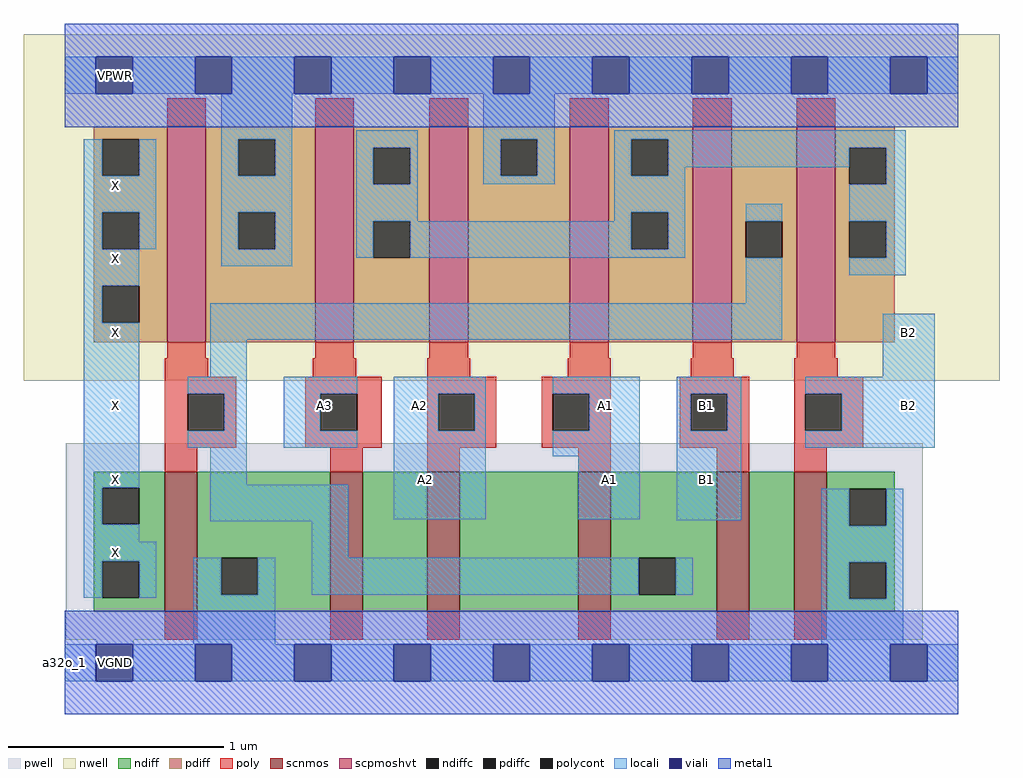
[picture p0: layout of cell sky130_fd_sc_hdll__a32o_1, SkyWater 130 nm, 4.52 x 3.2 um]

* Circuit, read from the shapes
.subckt sky130_fd_sc_hdll__a32o_1 A1 A2 A3 B1 B2 VGND VNB VPB VPWR X
XM1 VGND n1 X VNB sky130_fd_pr__nfet_01v8 w=0.65 l=0.15
XM2 n2 A3 VGND VNB sky130_fd_pr__nfet_01v8 w=0.65 l=0.15
XM3 n3 A2 n2 VNB sky130_fd_pr__nfet_01v8 w=0.65 l=0.15
XM4 n1 A1 n3 VNB sky130_fd_pr__nfet_01v8 w=0.65 l=0.15
XM5 n4 B1 n1 VNB sky130_fd_pr__nfet_01v8 w=0.65 l=0.15
XM6 VGND B2 n4 VNB sky130_fd_pr__nfet_01v8 w=0.65 l=0.15
XM7 VPWR n1 X VPB sky130_fd_pr__pfet_01v8_hvt w=1 l=0.18
XM8 n5 A3 VPWR VPB sky130_fd_pr__pfet_01v8_hvt w=1 l=0.18
XM9 VPWR A2 n5 VPB sky130_fd_pr__pfet_01v8_hvt w=1 l=0.18
XM10 n5 A1 VPWR VPB sky130_fd_pr__pfet_01v8_hvt w=1 l=0.18
XM11 n1 B1 n5 VPB sky130_fd_pr__pfet_01v8_hvt w=1 l=0.18
XM12 n5 B2 n1 VPB sky130_fd_pr__pfet_01v8_hvt w=1 l=0.18
.ends

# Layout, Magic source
magic
tech sky130A
magscale 1 2
<< nwell >>
rect -38 261 866 582
<< pwell >>
rect 1 21 795 203
rect 30 -17 64 21
<< scnmos >>
rect 93 47 123 177
rect 246 47 276 177
rect 336 47 366 177
rect 476 47 506 177
rect 604 47 634 177
rect 676 47 706 177
<< scpmoshvt >>
rect 95 297 131 497
rect 232 297 268 497
rect 338 297 374 497
rect 468 297 504 497
rect 582 297 618 497
rect 678 297 714 497
<< ndiff >>
rect 27 162 93 177
rect 27 128 35 162
rect 69 128 93 162
rect 27 94 93 128
rect 27 60 35 94
rect 69 60 93 94
rect 27 47 93 60
rect 123 97 246 177
rect 123 63 145 97
rect 179 63 246 97
rect 123 47 246 63
rect 276 47 336 177
rect 366 47 476 177
rect 506 97 604 177
rect 506 63 532 97
rect 566 63 604 97
rect 506 47 604 63
rect 634 47 676 177
rect 706 161 769 177
rect 706 127 727 161
rect 761 127 769 161
rect 706 93 769 127
rect 706 59 727 93
rect 761 59 769 93
rect 706 47 769 59
<< pdiff >>
rect 27 485 95 497
rect 27 451 35 485
rect 69 451 95 485
rect 27 417 95 451
rect 27 383 35 417
rect 69 383 95 417
rect 27 349 95 383
rect 27 315 35 349
rect 69 315 95 349
rect 27 297 95 315
rect 131 485 232 497
rect 131 451 161 485
rect 195 451 232 485
rect 131 417 232 451
rect 131 383 161 417
rect 195 383 232 417
rect 131 297 232 383
rect 268 477 338 497
rect 268 443 286 477
rect 320 443 338 477
rect 268 409 338 443
rect 268 375 286 409
rect 320 375 338 409
rect 268 297 338 375
rect 374 485 468 497
rect 374 451 404 485
rect 438 451 468 485
rect 374 297 468 451
rect 504 485 582 497
rect 504 451 525 485
rect 559 451 582 485
rect 504 417 582 451
rect 504 383 525 417
rect 559 383 582 417
rect 504 297 582 383
rect 618 409 678 497
rect 618 375 631 409
rect 665 375 678 409
rect 618 297 678 375
rect 714 477 769 497
rect 714 443 727 477
rect 761 443 769 477
rect 714 409 769 443
rect 714 375 727 409
rect 761 375 769 409
rect 714 297 769 375
<< ndiffc >>
rect 35 128 69 162
rect 35 60 69 94
rect 145 63 179 97
rect 532 63 566 97
rect 727 127 761 161
rect 727 59 761 93
<< pdiffc >>
rect 35 451 69 485
rect 35 383 69 417
rect 35 315 69 349
rect 161 451 195 485
rect 161 383 195 417
rect 286 443 320 477
rect 286 375 320 409
rect 404 451 438 485
rect 525 451 559 485
rect 525 383 559 417
rect 631 375 665 409
rect 727 443 761 477
rect 727 375 761 409
<< poly >>
rect 95 497 131 523
rect 232 497 268 523
rect 338 497 374 523
rect 468 497 504 523
rect 582 497 618 523
rect 678 497 714 523
rect 95 282 131 297
rect 232 282 268 297
rect 338 282 374 297
rect 468 282 504 297
rect 582 282 618 297
rect 678 282 714 297
rect 93 265 133 282
rect 230 265 270 282
rect 336 265 376 282
rect 466 265 506 282
rect 580 265 620 282
rect 676 265 716 282
rect 93 249 159 265
rect 93 215 114 249
rect 148 215 159 249
rect 93 199 159 215
rect 223 249 294 265
rect 223 215 237 249
rect 271 215 294 249
rect 223 199 294 215
rect 336 249 400 265
rect 336 215 346 249
rect 380 215 400 249
rect 336 199 400 215
rect 442 249 506 265
rect 442 215 452 249
rect 486 215 506 249
rect 442 199 506 215
rect 570 249 634 265
rect 570 215 580 249
rect 614 215 634 249
rect 570 199 634 215
rect 93 177 123 199
rect 246 177 276 199
rect 336 177 366 199
rect 476 177 506 199
rect 604 177 634 199
rect 676 249 740 265
rect 676 215 686 249
rect 720 215 740 249
rect 676 199 740 215
rect 676 177 706 199
rect 93 21 123 47
rect 246 21 276 47
rect 336 21 366 47
rect 476 21 506 47
rect 604 21 634 47
rect 676 21 706 47
<< polycont >>
rect 114 215 148 249
rect 237 215 271 249
rect 346 215 380 249
rect 452 215 486 249
rect 580 215 614 249
rect 686 215 720 249
<< locali >>
rect 0 527 29 561
rect 63 527 121 561
rect 155 527 213 561
rect 247 527 305 561
rect 339 527 397 561
rect 431 527 489 561
rect 523 527 581 561
rect 615 527 673 561
rect 707 527 765 561
rect 799 527 828 561
rect 145 485 211 527
rect 18 451 35 485
rect 69 451 85 485
rect 18 417 85 451
rect 18 383 35 417
rect 69 383 85 417
rect 145 451 161 485
rect 195 451 211 485
rect 145 417 211 451
rect 145 383 161 417
rect 195 383 211 417
rect 18 349 69 383
rect 145 367 211 383
rect 270 477 327 493
rect 270 443 286 477
rect 320 443 327 477
rect 388 485 454 527
rect 388 451 404 485
rect 438 451 454 485
rect 388 443 454 451
rect 509 485 779 493
rect 509 451 525 485
rect 559 477 779 485
rect 559 459 727 477
rect 559 451 575 459
rect 270 409 327 443
rect 509 417 575 451
rect 761 443 779 477
rect 509 409 525 417
rect 270 375 286 409
rect 320 383 525 409
rect 559 383 575 417
rect 320 375 575 383
rect 631 409 665 425
rect 18 315 35 349
rect 631 333 665 375
rect 727 409 779 443
rect 761 375 779 409
rect 727 359 779 375
rect 18 162 69 315
rect 135 299 665 333
rect 135 265 169 299
rect 758 265 806 323
rect 114 249 169 265
rect 148 215 169 249
rect 114 199 169 215
rect 203 249 271 265
rect 203 215 237 249
rect 203 199 271 215
rect 305 249 390 265
rect 305 215 346 249
rect 380 215 390 249
rect 18 128 35 162
rect 135 165 169 199
rect 135 131 263 165
rect 305 133 390 215
rect 452 249 533 265
rect 486 215 533 249
rect 452 191 533 215
rect 476 133 533 191
rect 567 249 627 265
rect 567 215 580 249
rect 614 215 627 249
rect 567 132 627 215
rect 686 249 806 265
rect 720 215 806 249
rect 686 199 806 215
rect 18 112 69 128
rect 18 94 85 112
rect 229 97 263 131
rect 701 127 727 161
rect 761 127 777 161
rect 18 60 35 94
rect 69 60 85 94
rect 119 63 145 97
rect 179 63 195 97
rect 229 63 532 97
rect 566 63 582 97
rect 701 93 777 127
rect 119 17 195 63
rect 701 59 727 93
rect 761 59 777 93
rect 701 17 777 59
rect 0 -17 29 17
rect 63 -17 121 17
rect 155 -17 213 17
rect 247 -17 305 17
rect 339 -17 397 17
rect 431 -17 489 17
rect 523 -17 581 17
rect 615 -17 673 17
rect 707 -17 765 17
rect 799 -17 828 17
<< viali >>
rect 29 527 63 561
rect 121 527 155 561
rect 213 527 247 561
rect 305 527 339 561
rect 397 527 431 561
rect 489 527 523 561
rect 581 527 615 561
rect 673 527 707 561
rect 765 527 799 561
rect 29 -17 63 17
rect 121 -17 155 17
rect 213 -17 247 17
rect 305 -17 339 17
rect 397 -17 431 17
rect 489 -17 523 17
rect 581 -17 615 17
rect 673 -17 707 17
rect 765 -17 799 17
<< metal1 >>
rect 0 561 828 592
rect 0 527 29 561
rect 63 527 121 561
rect 155 527 213 561
rect 247 527 305 561
rect 339 527 397 561
rect 431 527 489 561
rect 523 527 581 561
rect 615 527 673 561
rect 707 527 765 561
rect 799 527 828 561
rect 0 496 828 527
rect 0 17 828 48
rect 0 -17 29 17
rect 63 -17 121 17
rect 155 -17 213 17
rect 247 -17 305 17
rect 339 -17 397 17
rect 431 -17 489 17
rect 523 -17 581 17
rect 615 -17 673 17
rect 707 -17 765 17
rect 799 -17 828 17
rect 0 -48 828 -17
<< labels >>
flabel locali s 30 85 64 119 0 FreeSans 200 0 0 0 X
port 10 nsew signal output
flabel locali s 30 153 64 187 0 FreeSans 200 0 0 0 X
port 10 nsew signal output
flabel locali s 30 289 64 323 0 FreeSans 200 0 0 0 X
port 10 nsew signal output
flabel locali s 30 357 64 391 0 FreeSans 200 0 0 0 X
port 10 nsew signal output
flabel locali s 30 425 64 459 0 FreeSans 200 0 0 0 X
port 10 nsew signal output
flabel locali s 224 221 258 255 0 FreeSans 200 0 0 0 A3
port 3 nsew signal input
flabel locali s 765 221 799 255 0 FreeSans 200 0 0 0 B2
port 5 nsew signal input
flabel locali s 578 153 612 187 0 FreeSans 200 0 0 0 B1
port 4 nsew signal input
flabel locali s 488 153 522 187 0 FreeSans 200 0 0 0 A1
port 1 nsew signal input
flabel locali s 484 221 518 255 0 FreeSans 200 0 0 0 A1
port 1 nsew signal input
flabel locali s 312 221 346 255 0 FreeSans 200 0 0 0 A2
port 2 nsew signal input
flabel locali s 578 221 612 255 0 FreeSans 200 0 0 0 B1
port 4 nsew signal input
flabel locali s 765 289 799 323 0 FreeSans 200 0 0 0 B2
port 5 nsew signal input
flabel locali s 317 153 351 187 0 FreeSans 200 0 0 0 A2
port 2 nsew signal input
flabel locali s 30 221 64 255 0 FreeSans 200 0 0 0 X
port 10 nsew signal output
flabel metal1 s 30 -17 64 17 0 FreeSans 200 0 0 0 VGND
port 6 nsew ground bidirectional
flabel metal1 s 30 527 64 561 0 FreeSans 200 0 0 0 VPWR
port 9 nsew power bidirectional
flabel nwell s 30 527 64 561 0 FreeSans 200 0 0 0 VPB
port 8 nsew power bidirectional
flabel pwell s 30 -17 64 17 0 FreeSans 200 0 0 0 VNB
port 7 nsew ground bidirectional
rlabel comment s 0 0 0 0 4 a32o_1
<< properties >>
string LEFsite unithd
string LEFclass CORE
string FIXED_BBOX 0 0 828 544
string GDS_FILE $PDKPATH/libs.ref/sky130_fd_sc_hdll/gds/sky130_fd_sc_hdll.gds
string LEFsymmetry X Y R90
string GDS_END 853230
string GDS_START 845472
string LEFproperties maskLayoutSubType "abstract" prCellType "standard" originalViewName "layout"
<< end >>
